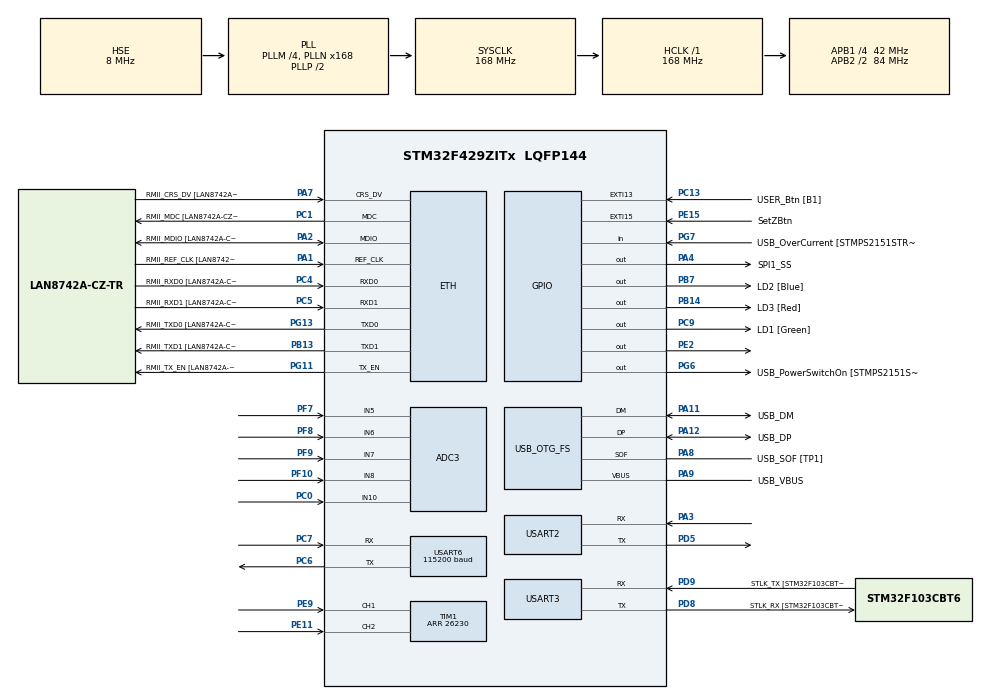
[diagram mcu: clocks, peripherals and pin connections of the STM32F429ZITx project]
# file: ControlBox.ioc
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ADC3.Channel-0\#ChannelRegularConversion=ADC_CHANNEL_5
ADC3.Channel-1\#ChannelRegularConversion=ADC_CHANNEL_6
ADC3.Channel-2\#ChannelRegularConversion=ADC_CHANNEL_7
ADC3.Channel-3\#ChannelRegularConversion=ADC_CHANNEL_8
ADC3.Channel-4\#ChannelRegularConversion=ADC_CHANNEL_10
ADC3.ContinuousConvMode=ENABLE
ADC3.DMAContinuousRequests=ENABLE
ADC3.NbrOfConversion=5
ADC3.NbrOfConversionFlag=1
ADC3.Rank-0\#ChannelRegularConversion=1
ADC3.Rank-1\#ChannelRegularConversion=2
ADC3.Rank-2\#ChannelRegularConversion=3
ADC3.Rank-3\#ChannelRegularConversion=4
ADC3.Rank-4\#ChannelRegularConversion=5
ADC3.SamplingTime-0\#ChannelRegularConversion=ADC_SAMPLETIME_144CYCLES
ADC3.SamplingTime-1\#ChannelRegularConversion=ADC_SAMPLETIME_144CYCLES
ADC3.SamplingTime-2\#ChannelRegularConversion=ADC_SAMPLETIME_144CYCLES
ADC3.SamplingTime-3\#ChannelRegularConversion=ADC_SAMPLETIME_144CYCLES
ADC3.SamplingTime-4\#ChannelRegularConversion=ADC_SAMPLETIME_144CYCLES
Dma.ADC3.0.Direction=DMA_PERIPH_TO_MEMORY
Dma.ADC3.0.FIFOMode=DMA_FIFOMODE_DISABLE
Dma.ADC3.0.Instance=DMA2_Stream0
Dma.ADC3.0.MemDataAlignment=DMA_MDATAALIGN_WORD
Dma.ADC3.0.MemInc=DMA_MINC_ENABLE
Dma.ADC3.0.Mode=DMA_CIRCULAR
Dma.ADC3.0.PeriphDataAlignment=DMA_PDATAALIGN_WORD
Dma.ADC3.0.PeriphInc=DMA_PINC_DISABLE
Dma.ADC3.0.Priority=DMA_PRIORITY_LOW
Dma.Request0=ADC3
ETH.MediaInterface=ETH_MEDIA_INTERFACE_RMII
ETH.PHY_Name=LAN8742A_PHY_ADDRESS
ETH.PHY_Value=0
ETH.PhyAddress=0
Mcu.Family=STM32F4
Mcu.Name=STM32F429ZITx
Mcu.Package=LQFP144
NVIC.DMA2_Stream0_IRQn=true\:0\:0\:false\:false\:true\:false\:true
NVIC.EXTI15_10_IRQn=true\:0\:0\:false\:false\:true\:true\:true
NVIC.PriorityGroup=NVIC_PRIORITYGROUP_4
NVIC.TIM6_DAC_IRQn=true\:0\:0\:false\:false\:true\:true\:true
NVIC.USART6_IRQn=true\:0\:0\:false\:false\:true\:true\:true
PA1.GPIO_Label=RMII_REF_CLK [LAN8742A-CZ-TR_REFCLK0]
PA1.Mode=RMII
PA1.Signal=ETH_REF_CLK
PA10.GPIO_Label=USB_ID
PA10.Signal=USB_OTG_FS_ID
PA11.GPIO_Label=USB_DM
PA11.Mode=Device_Only
PA11.Signal=USB_OTG_FS_DM
PA12.GPIO_Label=USB_DP
PA12.Mode=Device_Only
PA12.Signal=USB_OTG_FS_DP
PA13.GPIO_Label=TMS
PA13.Mode=Serial_Wire
PA13.Signal=SYS_JTMS-SWDIO
PA14.GPIO_Label=TCK
PA14.Mode=Serial_Wire
PA14.Signal=SYS_JTCK-SWCLK
PA2.GPIO_Label=RMII_MDIO [LAN8742A-CZ-TR_MDIO]
PA2.Mode=RMII
PA2.Signal=ETH_MDIO
PA3.Mode=Asynchronous
PA3.Signal=USART2_RX
PA4.GPIO_Label=SPI1_SS
PA4.Signal=GPIO_Output
PA7.GPIO_Label=RMII_CRS_DV [LAN8742A-CZ-TR_CRS_DV]
PA7.Mode=RMII
PA7.Signal=ETH_CRS_DV
PA8.GPIO_Label=USB_SOF [TP1]
PA8.Mode=Activate_SOF_FS
PA8.Signal=USB_OTG_FS_SOF
PA9.GPIO_Label=USB_VBUS
PA9.Mode=Activate_VBUS
PA9.Signal=USB_OTG_FS_VBUS
PB13.GPIO_Label=RMII_TXD1 [LAN8742A-CZ-TR_TXD1]
PB13.Mode=RMII
PB13.Signal=ETH_TXD1
PB14.GPIO_Label=LD3 [Red]
PB14.Signal=GPIO_Output
PB7.GPIO_Label=LD2 [Blue]
PB7.Signal=GPIO_Output
PC0.Signal=ADCx_IN10
PC1.GPIO_Label=RMII_MDC [LAN8742A-CZ-TR_MDC]
PC1.Mode=RMII
PC1.Signal=ETH_MDC
PC13.GPIO_Label=USER_Btn [B1]
PC13.Signal=GPXTI13
PC14/OSC32_IN.Mode=LSE-External-Oscillator
PC14/OSC32_IN.Signal=RCC_OSC32_IN
PC15/OSC32_OUT.Mode=LSE-External-Oscillator
PC15/OSC32_OUT.Signal=RCC_OSC32_OUT
PC4.GPIO_Label=RMII_RXD0 [LAN8742A-CZ-TR_RXD0]
PC4.Mode=RMII
PC4.Signal=ETH_RXD0
PC5.GPIO_Label=RMII_RXD1 [LAN8742A-CZ-TR_RXD1]
PC5.Mode=RMII
PC5.Signal=ETH_RXD1
PC6.Mode=Asynchronous
PC6.Signal=USART6_TX
PC7.Mode=Asynchronous
PC7.Signal=USART6_RX
PC9.GPIO_Label=LD1 [Green]
PC9.Signal=GPIO_Output
PD5.Mode=Asynchronous
PD5.Signal=USART2_TX
PD8.GPIO_Label=STLK_RX [STM32F103CBT6_PA3]
PD8.Mode=Asynchronous
PD8.Signal=USART3_TX
PD9.GPIO_Label=STLK_TX [STM32F103CBT6_PA2]
PD9.Mode=Asynchronous
PD9.Signal=USART3_RX
PE11.Signal=S_TIM1_CH2
PE15.GPIO_Label=SetZBtn
PE15.Signal=GPXTI15
PE2.Signal=GPIO_Output
PE9.Signal=S_TIM1_CH1
PF10.Mode=IN8
PF10.Signal=ADC3_IN8
PF7.Mode=IN5
PF7.Signal=ADC3_IN5
PF8.Mode=IN6
PF8.Signal=ADC3_IN6
PF9.Mode=IN7
PF9.Signal=ADC3_IN7
PG11.GPIO_Label=RMII_TX_EN [LAN8742A-CZ-TR_TXEN]
PG11.Mode=RMII
PG11.Signal=ETH_TX_EN
PG13.GPIO_Label=RMII_TXD0 [LAN8742A-CZ-TR_TXD0]
PG13.Mode=RMII
PG13.Signal=ETH_TXD0
PG6.GPIO_Label=USB_PowerSwitchOn [STMPS2151STR_EN]
PG6.Signal=GPIO_Output
PG7.GPIO_Label=USB_OverCurrent [STMPS2151STR_FAULT]
PG7.Signal=GPIO_Input
PH0/OSC_IN.GPIO_Label=MCO [STM32F103CBT6_PA8]
PH0/OSC_IN.Mode=HSE-External-Clock-Source
PH0/OSC_IN.Signal=RCC_OSC_IN
PH1/OSC_OUT.Mode=HSE-External-Clock-Source
PH1/OSC_OUT.Signal=RCC_OSC_OUT
ProjectManager.HeapSize=0x200
ProjectManager.StackSize=0x400
ProjectManager.TargetToolchain=EWARM V8
RCC.48MHZClocksFreq_Value=48000000
RCC.AHBFreq_Value=168000000
RCC.APB1CLKDivider=RCC_HCLK_DIV4
RCC.APB1Freq_Value=42000000
RCC.APB1TimFreq_Value=84000000
RCC.APB2CLKDivider=RCC_HCLK_DIV2
RCC.APB2Freq_Value=84000000
RCC.APB2TimCLKDivider=2
RCC.APB2TimFreq_Value=168000000
RCC.CortexFreq_Value=168000000
RCC.HCLKFreq_Value=168000000
RCC.HSE_VALUE=8000000
RCC.HSI_VALUE=16000000
RCC.PLLM=4
RCC.PLLMUL=RCC_PLL_MUL9
RCC.PLLN=168
RCC.PLLQ=7
RCC.PRESCALERUSB=RCC_USBCLKSOURCE_PLL_DIV1_5
RCC.SYSCLKFreq_VALUE=168000000
RCC.SYSCLKSource=RCC_SYSCLKSOURCE_PLLCLK
RCC.SYSCLKSourceVirtual=RCC_SYSCLKSOURCE_PLLCLK
RCC.USBFreq_Value=48000000
RCC.VCOOutputFreq_Value=336000000
SH.ADCx_IN10.0=ADC3_IN10,IN10
SH.S_TIM1_CH1.0=TIM1_CH1,Encoder_Interface
SH.S_TIM1_CH2.0=TIM1_CH2,Encoder_Interface
TIM1.Period=26230
TIM6.Period=99
TIM6.Prescaler=8399
USART2.VirtualMode=VM_ASYNC
USART3.VirtualMode=VM_ASYNC
USART6.BaudRate=115200
USART6.VirtualMode=VM_ASYNC
USB_OTG_FS.VirtualMode=Device_Only
VP_TIM6_VS_ClockSourceINT.Mode=Enable_Timer
board=NUCLEO-F429ZI

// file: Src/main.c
/* USER CODE BEGIN Header */
/**
  ******************************************************************************
  * @file           : main.c
  * @brief          : Main program body
  ******************************************************************************
  * @attention
  *
  * <h2><center>&copy; Copyright (c) 2019 STMicroelectronics.
  * All rights reserved.</center></h2>
  *
  * This software component is licensed by ST under BSD 3-Clause license,
  * the "License"; You may not use this file except in compliance with the
  * License. You may obtain a copy of the License at:
  *                        opensource.org/licenses/BSD-3-Clause
  *
  ******************************************************************************
  */
/* USER CODE END Header */

#include "main.h"

/* USER CODE BEGIN Includes */
#include <math.h>

/* USER CODE END Includes */

/* USER CODE BEGIN PD */
#define DIR_RIGHT_PLUS 0x00
#define DIR_RIGHT_MINUS  0x01

#define DIR_LEFT_MINUS 0x00
#define DIR_LEFT_PLUS  0x01

/* USER CODE END PD */

ADC_HandleTypeDef hadc3;
DMA_HandleTypeDef hdma_adc3;

ETH_HandleTypeDef heth;

TIM_HandleTypeDef htim1;
TIM_HandleTypeDef htim6;

UART_HandleTypeDef huart2;
UART_HandleTypeDef huart3;
UART_HandleTypeDef huart6;

PCD_HandleTypeDef hpcd_USB_OTG_FS;

/* USER CODE BEGIN PV */
unsigned int code_Error = 0;
uint8_t rx_data[4] = {0x00, }; //앱솔루스 통신 배열
uint16_t ABSposition = 0; //초기 각도 확인을 위한 변수
int32_t EncoderCounter = 0; //인클리멘털 엔코더 변수
int32_t pre_EncoderCounter = 0;
int8_t Direction = 0; //인클리멘털 엔코더 방향 변수
double deg = 0.0; //앱솔루트 엔코더 각도 변수
uint16_t dis = 0.0; //인크리 멘털 카운터를 이용한 줄길이 변수
int n_deg = 0.;
unsigned int tenmilli = 0;
unsigned int second = 0;

double pre_dis = 0.0;
double ddis = 0.0;

double x = 0.0;
double y = 0.0;
double Ex = 0.0;
double pre_Ex = 0.0;
double Ey = 0.0;
double pre_Ey = 0.0;
double Vx = 0.0;
double Vy = 0.0;
double left = 0.0;
double right = 0.0;
double Exsum = 0.0;
double Eysum = 0.0;
double L = 0.0;
double R = 0.0;
double x0 = 0.0;
double y0 = 0.0;
int motor_flag = 0;
int init_flag = 0;

//  Motor Controller Protocol Variables
uint16_t id0_rpm = 0x0000;
uint16_t id1_rpm = 0x0000;
uint8_t id0_Ctrl_Vel[10] = {0xFF, 0xFE, 0x00, 0x06, 0x00/*CheckSum*/, 0x03, DIR_RIGHT_PLUS, 0x00, 0x00, 0x01};
uint8_t id1_Ctrl_Vel[10] = {0xFF, 0xFE, 0x01, 0x06, 0x00/*CheckSum*/, 0x03, DIR_LEFT_PLUS, 0x00, 0x00, 0x01};

unsigned int ADC_Buffer[5] = {0,};

/* USER CODE END PV */

void SystemClock_Config(void);
static void MX_GPIO_Init(void);
static void MX_DMA_Init(void);
static void MX_ETH_Init(void);
static void MX_TIM1_Init(void);
static void MX_USART3_UART_Init(void);
static void MX_USB_OTG_FS_PCD_Init(void);
static void MX_TIM6_Init(void);
static void MX_ADC3_Init(void);
static void MX_USART6_UART_Init(void);
static void MX_USART2_UART_Init(void);
/* USER CODE BEGIN PFP */

void cal_CheckSum(unsigned char *array_Data);
double cal_Absolute(double value);                      // 절대값 구하는 함수

/* USER CODE END PFP */

/* USER CODE BEGIN 0 */
void HAL_TIM_PeriodElapsedCallback(TIM_HandleTypeDef *htim)
{
  if(htim == &htim6) //timer6
  {
    //control period time check
    tenmilli++;
    if(tenmilli % 10 == 0)
    {
      second++;
    }

    //incremental encoder
    EncoderCounter = TIM1->CNT;
    if(cal_Absolute(pre_EncoderCounter - EncoderCounter) > 10000)
    {
      EncoderCounter = 0;
    }
    Direction = __HAL_TIM_IS_TIM_COUNTING_DOWN(&htim1);
    dis = EncoderCounter * 0.011;//(7.0/300.0);

    //absolute encoder
    ABSposition = (rx_data[0] - 48) * 1000 + (rx_data[1] - 48) * 100 + (rx_data[2] - 48) * 10 + (rx_data[3] - 48);
    deg = ABSposition * 0.087890;
    n_deg = (int)deg;

    //control part
    ///////////////////////////////////////////////////////////////////////////////
    //ddis = dis - pre_dis;
    if(dis > 50)
    {
      if(init_flag == 0)
      {
        x0 = dis * cos(deg * 0.0174533);
        y0 = dis * sin(deg * 0.0174533);
        init_flag = 1;
      }

      Ex = x0 - dis * cos(deg * 0.0174533);
      Ey = y0 - dis * sin(deg * 0.0174533);

      Vx = -0.4* Ex; //-  0.05 * Exsum;
      Vy = -0.4* Ey; //-  0.05 * Eysum;

      left = (Vx * 0.121212  - Vy * 0.0679059) * 9.549297;
      right = (Vx * 0.121212 + Vy * 0.0679059) * 9.549297;

      L = left;
      R = right;

      //Saturation and Direction
      if(left < 0)
      {
        left = - left;
        id1_Ctrl_Vel[6] = DIR_LEFT_MINUS;
        if(left > 100){ left = 100; }
        else
        {
          Exsum = Exsum + Ex;
          Eysum = Eysum + Ey;
        }
      }
      else
      {
        id1_Ctrl_Vel[6] = DIR_LEFT_PLUS;
        if(left > 100){ left = 100; }
        else
        {
          Exsum = Exsum + Ex;
          Eysum = Eysum + Ey;
        }
      }
      if(right < 0)
      {
        right = - right;
        id0_Ctrl_Vel[6] = DIR_RIGHT_MINUS;
        if(right > 100){ right = 100; }
        else
        {
         Exsum = Exsum + Ex;
          Eysum = Eysum + Ey;
        }
      }
      else
      {
        id0_Ctrl_Vel[6] = DIR_RIGHT_PLUS;
        if(right > 100){ right = 100; }
        else
        {
          Exsum = Exsum + Ex;
          Eysum = Eysum + Ey;
        }
      }
      id0_rpm = (int)right*10 ;
      id1_rpm = (int)left*10;
    }
    else
    {
      id0_rpm = 0;
      id1_rpm = 0;
    }

      //////////////////////////////////////////////////////////////////////////
    //id0_rpm = 200;
    //id1_rpm = 200;
    id0_Ctrl_Vel[7] = id0_rpm >> 8;
    id0_Ctrl_Vel[8] = (unsigned char)id0_rpm;
    id1_Ctrl_Vel[7] = id1_rpm >> 8;
    id1_Ctrl_Vel[8] = (unsigned char)id1_rpm;
    cal_CheckSum(id0_Ctrl_Vel);
    cal_CheckSum(id1_Ctrl_Vel);

    pre_dis = dis;
    motor_flag = 1;

  }
  pre_EncoderCounter = EncoderCounter;

}

/* USER CODE END 0 */

int main(void)
{

  /* MCU Configuration--------------------------------------------------------*/

  /* Reset of all peripherals, Initializes the Flash interface and the Systick. */
  HAL_Init();

  /* Configure the system clock */
  SystemClock_Config();

  /* Initialize all configured peripherals */
  MX_GPIO_Init();
  MX_DMA_Init();
  MX_ETH_Init();
  MX_TIM1_Init();
  MX_USART3_UART_Init();
  MX_USB_OTG_FS_PCD_Init();
  MX_TIM6_Init();
  MX_ADC3_Init();
  MX_USART6_UART_Init();
  MX_USART2_UART_Init();
  /* USER CODE BEGIN 2 */

  //motor init
  HAL_UART_Transmit(&huart6, id0_Ctrl_Vel, 10, 0xFF);
  HAL_UART_Transmit(&huart6, id1_Ctrl_Vel, 10, 0xFF);

  code_Error = 1;

  HAL_TIM_Encoder_Start(&htim1, TIM_CHANNEL_ALL); //incremental encoder start function

  //HAL_ADC_Start_DMA(&hadc3, ADC_Buffer, 5);

  HAL_TIM_Base_Start_IT(&htim6);

  /* USER CODE END 2 */

  /* Infinite loop */
  while (1)
  {

    /* USER CODE BEGIN 3 */
    HAL_UART_Receive(&huart2, rx_data, 4, 10); //Absolute encoder usart
    //motor usart
    if(motor_flag == 1)
    {
        HAL_UART_Transmit(&huart6, id0_Ctrl_Vel, 10, 100);
       HAL_UART_Transmit(&huart6, id1_Ctrl_Vel, 10, 100);
        motor_flag = 0;
    }
  }
  /* USER CODE END 3 */
}

void SystemClock_Config(void)
{
  RCC_OscInitTypeDef RCC_OscInitStruct = {0};
  RCC_ClkInitTypeDef RCC_ClkInitStruct = {0};

  /** Configure the main internal regulator output voltage
  */
  __HAL_RCC_PWR_CLK_ENABLE();
  __HAL_PWR_VOLTAGESCALING_CONFIG(PWR_REGULATOR_VOLTAGE_SCALE1);
  /** Initializes the CPU, AHB and APB busses clocks
  */
  RCC_OscInitStruct.OscillatorType = RCC_OSCILLATORTYPE_HSE;
  RCC_OscInitStruct.HSEState = RCC_HSE_BYPASS;
  RCC_OscInitStruct.PLL.PLLState = RCC_PLL_ON;
  RCC_OscInitStruct.PLL.PLLSource = RCC_PLLSOURCE_HSE;
  RCC_OscInitStruct.PLL.PLLM = 4;
  RCC_OscInitStruct.PLL.PLLN = 168;
  RCC_OscInitStruct.PLL.PLLP = RCC_PLLP_DIV2;
  RCC_OscInitStruct.PLL.PLLQ = 7;
  if (HAL_RCC_OscConfig(&RCC_OscInitStruct) != HAL_OK)
  {
    Error_Handler();
  }
  /** Initializes the CPU, AHB and APB busses clocks
  */
  RCC_ClkInitStruct.ClockType = RCC_CLOCKTYPE_HCLK|RCC_CLOCKTYPE_SYSCLK
                              |RCC_CLOCKTYPE_PCLK1|RCC_CLOCKTYPE_PCLK2;
  RCC_ClkInitStruct.SYSCLKSource = RCC_SYSCLKSOURCE_PLLCLK;
  RCC_ClkInitStruct.AHBCLKDivider = RCC_SYSCLK_DIV1;
  RCC_ClkInitStruct.APB1CLKDivider = RCC_HCLK_DIV4;
  RCC_ClkInitStruct.APB2CLKDivider = RCC_HCLK_DIV2;

  if (HAL_RCC_ClockConfig(&RCC_ClkInitStruct, FLASH_LATENCY_5) != HAL_OK)
  {
    Error_Handler();
  }
}

static void MX_ADC3_Init(void)
{

  ADC_ChannelConfTypeDef sConfig = {0};

  /** Configure the global features of the ADC (Clock, Resolution, Data Alignment and number of conversion)
  */
  hadc3.Instance = ADC3;
  hadc3.Init.ClockPrescaler = ADC_CLOCK_SYNC_PCLK_DIV4;
  hadc3.Init.Resolution = ADC_RESOLUTION_12B;
  hadc3.Init.ScanConvMode = ENABLE;
  hadc3.Init.ContinuousConvMode = ENABLE;
  hadc3.Init.DiscontinuousConvMode = DISABLE;
  hadc3.Init.ExternalTrigConvEdge = ADC_EXTERNALTRIGCONVEDGE_NONE;
  hadc3.Init.ExternalTrigConv = ADC_SOFTWARE_START;
  hadc3.Init.DataAlign = ADC_DATAALIGN_RIGHT;
  hadc3.Init.NbrOfConversion = 5;
  hadc3.Init.DMAContinuousRequests = ENABLE;
  hadc3.Init.EOCSelection = ADC_EOC_SINGLE_CONV;
  if (HAL_ADC_Init(&hadc3) != HAL_OK)
  {
    Error_Handler();
  }
  /** Configure for the selected ADC regular channel its corresponding rank in the sequencer and its sample time.
  */
  sConfig.Channel = ADC_CHANNEL_5;
  sConfig.Rank = 1;
  sConfig.SamplingTime = ADC_SAMPLETIME_144CYCLES;
  if (HAL_ADC_ConfigChannel(&hadc3, &sConfig) != HAL_OK)
  {
    Error_Handler();
  }
  /** Configure for the selected ADC regular channel its corresponding rank in the sequencer and its sample time.
  */
  sConfig.Channel = ADC_CHANNEL_6;
  sConfig.Rank = 2;
  if (HAL_ADC_ConfigChannel(&hadc3, &sConfig) != HAL_OK)
  {
    Error_Handler();
  }
  /** Configure for the selected ADC regular channel its corresponding rank in the sequencer and its sample time.
  */
  sConfig.Channel = ADC_CHANNEL_7;
  sConfig.Rank = 3;
  if (HAL_ADC_ConfigChannel(&hadc3, &sConfig) != HAL_OK)
  {
    Error_Handler();
  }
  /** Configure for the selected ADC regular channel its corresponding rank in the sequencer and its sample time.
  */
  sConfig.Channel = ADC_CHANNEL_8;
  sConfig.Rank = 4;
  if (HAL_ADC_ConfigChannel(&hadc3, &sConfig) != HAL_OK)
  {
    Error_Handler();
  }
  /** Configure for the selected ADC regular channel its corresponding rank in the sequencer and its sample time.
  */
  sConfig.Channel = ADC_CHANNEL_10;
  sConfig.Rank = 5;
  if (HAL_ADC_ConfigChannel(&hadc3, &sConfig) != HAL_OK)
  {
    Error_Handler();
  }

}

static void MX_ETH_Init(void)
{

   uint8_t MACAddr[6] ;

  heth.Instance = ETH;
  heth.Init.AutoNegotiation = ETH_AUTONEGOTIATION_ENABLE;
  heth.Init.PhyAddress = LAN8742A_PHY_ADDRESS;
  MACAddr[0] = 0x00;
  MACAddr[1] = 0x80;
  MACAddr[2] = 0xE1;
  MACAddr[3] = 0x00;
  MACAddr[4] = 0x00;
  MACAddr[5] = 0x00;
  heth.Init.MACAddr = &MACAddr[0];
  heth.Init.RxMode = ETH_RXPOLLING_MODE;
  heth.Init.ChecksumMode = ETH_CHECKSUM_BY_HARDWARE;
  heth.Init.MediaInterface = ETH_MEDIA_INTERFACE_RMII;

  if (HAL_ETH_Init(&heth) != HAL_OK)
  {
    Error_Handler();
  }

}

static void MX_TIM1_Init(void)
{

  TIM_Encoder_InitTypeDef sConfig = {0};
  TIM_MasterConfigTypeDef sMasterConfig = {0};

  htim1.Instance = TIM1;
  htim1.Init.Prescaler = 0;
  htim1.Init.CounterMode = TIM_COUNTERMODE_UP;
  htim1.Init.Period = 26230;
  htim1.Init.ClockDivision = TIM_CLOCKDIVISION_DIV1;
  htim1.Init.RepetitionCounter = 0;
  htim1.Init.AutoReloadPreload = TIM_AUTORELOAD_PRELOAD_DISABLE;
  sConfig.EncoderMode = TIM_ENCODERMODE_TI1;
  sConfig.IC1Polarity = TIM_ICPOLARITY_RISING;
  sConfig.IC1Selection = TIM_ICSELECTION_DIRECTTI;
  sConfig.IC1Prescaler = TIM_ICPSC_DIV1;
  sConfig.IC1Filter = 0;
  sConfig.IC2Polarity = TIM_ICPOLARITY_RISING;
  sConfig.IC2Selection = TIM_ICSELECTION_DIRECTTI;
  sConfig.IC2Prescaler = TIM_ICPSC_DIV1;
  sConfig.IC2Filter = 0;
  if (HAL_TIM_Encoder_Init(&htim1, &sConfig) != HAL_OK)
  {
    Error_Handler();
  }
  sMasterConfig.MasterOutputTrigger = TIM_TRGO_RESET;
  sMasterConfig.MasterSlaveMode = TIM_MASTERSLAVEMODE_DISABLE;
  if (HAL_TIMEx_MasterConfigSynchronization(&htim1, &sMasterConfig) != HAL_OK)
  {
    Error_Handler();
  }

}

static void MX_TIM6_Init(void)
{

  TIM_MasterConfigTypeDef sMasterConfig = {0};

  htim6.Instance = TIM6;
  htim6.Init.Prescaler = 8399;
  htim6.Init.CounterMode = TIM_COUNTERMODE_UP;
  htim6.Init.Period = 99;
  htim6.Init.AutoReloadPreload = TIM_AUTORELOAD_PRELOAD_DISABLE;
  if (HAL_TIM_Base_Init(&htim6) != HAL_OK)
  {
    Error_Handler();
  }
  sMasterConfig.MasterOutputTrigger = TIM_TRGO_RESET;
  sMasterConfig.MasterSlaveMode = TIM_MASTERSLAVEMODE_DISABLE;
  if (HAL_TIMEx_MasterConfigSynchronization(&htim6, &sMasterConfig) != HAL_OK)
  {
    Error_Handler();
  }

}

static void MX_USART2_UART_Init(void)
{

  huart2.Instance = USART2;
  huart2.Init.BaudRate = 115200;
  huart2.Init.WordLength = UART_WORDLENGTH_8B;
  huart2.Init.StopBits = UART_STOPBITS_1;
  huart2.Init.Parity = UART_PARITY_NONE;
  huart2.Init.Mode = UART_MODE_TX_RX;
  huart2.Init.HwFlowCtl = UART_HWCONTROL_NONE;
  huart2.Init.OverSampling = UART_OVERSAMPLING_16;
  if (HAL_UART_Init(&huart2) != HAL_OK)
  {
    Error_Handler();
  }

}

static void MX_USART3_UART_Init(void)
{

  huart3.Instance = USART3;
  huart3.Init.BaudRate = 115200;
  huart3.Init.WordLength = UART_WORDLENGTH_8B;
  huart3.Init.StopBits = UART_STOPBITS_1;
  huart3.Init.Parity = UART_PARITY_NONE;
  huart3.Init.Mode = UART_MODE_TX_RX;
  huart3.Init.HwFlowCtl = UART_HWCONTROL_NONE;
  huart3.Init.OverSampling = UART_OVERSAMPLING_16;
  if (HAL_UART_Init(&huart3) != HAL_OK)
  {
    Error_Handler();
  }

}

static void MX_USART6_UART_Init(void)
{

  huart6.Instance = USART6;
  huart6.Init.BaudRate = 115200;
  huart6.Init.WordLength = UART_WORDLENGTH_8B;
  huart6.Init.StopBits = UART_STOPBITS_1;
  huart6.Init.Parity = UART_PARITY_NONE;
  huart6.Init.Mode = UART_MODE_TX_RX;
  huart6.Init.HwFlowCtl = UART_HWCONTROL_NONE;
  huart6.Init.OverSampling = UART_OVERSAMPLING_16;
  if (HAL_UART_Init(&huart6) != HAL_OK)
  {
    Error_Handler();
  }

}

static void MX_USB_OTG_FS_PCD_Init(void)
{

  hpcd_USB_OTG_FS.Instance = USB_OTG_FS;
  hpcd_USB_OTG_FS.Init.dev_endpoints = 4;
  hpcd_USB_OTG_FS.Init.speed = PCD_SPEED_FULL;
  hpcd_USB_OTG_FS.Init.dma_enable = DISABLE;
  hpcd_USB_OTG_FS.Init.phy_itface = PCD_PHY_EMBEDDED;
  hpcd_USB_OTG_FS.Init.Sof_enable = ENABLE;
  hpcd_USB_OTG_FS.Init.low_power_enable = DISABLE;
  hpcd_USB_OTG_FS.Init.lpm_enable = DISABLE;
  hpcd_USB_OTG_FS.Init.vbus_sensing_enable = ENABLE;
  hpcd_USB_OTG_FS.Init.use_dedicated_ep1 = DISABLE;
  if (HAL_PCD_Init(&hpcd_USB_OTG_FS) != HAL_OK)
  {
    Error_Handler();
  }

}

static void MX_DMA_Init(void)
{
  /* DMA controller clock enable */
  __HAL_RCC_DMA2_CLK_ENABLE();

  /* DMA interrupt init */
  /* DMA2_Stream0_IRQn interrupt configuration */
  HAL_NVIC_SetPriority(DMA2_Stream0_IRQn, 0, 0);
  HAL_NVIC_EnableIRQ(DMA2_Stream0_IRQn);

}

static void MX_GPIO_Init(void)
{
  GPIO_InitTypeDef GPIO_InitStruct = {0};

  /* GPIO Ports Clock Enable */
  __HAL_RCC_GPIOE_CLK_ENABLE();
  __HAL_RCC_GPIOC_CLK_ENABLE();
  __HAL_RCC_GPIOF_CLK_ENABLE();
  __HAL_RCC_GPIOH_CLK_ENABLE();
  __HAL_RCC_GPIOA_CLK_ENABLE();
  __HAL_RCC_GPIOB_CLK_ENABLE();
  __HAL_RCC_GPIOD_CLK_ENABLE();
  __HAL_RCC_GPIOG_CLK_ENABLE();

  /*Configure GPIO pin Output Level */
  HAL_GPIO_WritePin(GPIOE, GPIO_PIN_2, GPIO_PIN_RESET);

  /*Configure GPIO pin Output Level */
  HAL_GPIO_WritePin(SPI1_SS_GPIO_Port, SPI1_SS_Pin, GPIO_PIN_RESET);

  /*Configure GPIO pin Output Level */
  HAL_GPIO_WritePin(GPIOB, LD3_Pin|LD2_Pin, GPIO_PIN_RESET);

  /*Configure GPIO pin Output Level */
  HAL_GPIO_WritePin(USB_PowerSwitchOn_GPIO_Port, USB_PowerSwitchOn_Pin, GPIO_PIN_RESET);

  /*Configure GPIO pin Output Level */
  HAL_GPIO_WritePin(LD1_GPIO_Port, LD1_Pin, GPIO_PIN_RESET);

  /*Configure GPIO pin : PE2 */
  GPIO_InitStruct.Pin = GPIO_PIN_2;
  GPIO_InitStruct.Mode = GPIO_MODE_OUTPUT_PP;
  GPIO_InitStruct.Pull = GPIO_NOPULL;
  GPIO_InitStruct.Speed = GPIO_SPEED_FREQ_LOW;
  HAL_GPIO_Init(GPIOE, &GPIO_InitStruct);

  /*Configure GPIO pin : USER_Btn_Pin */
  GPIO_InitStruct.Pin = USER_Btn_Pin;
  GPIO_InitStruct.Mode = GPIO_MODE_IT_RISING;
  GPIO_InitStruct.Pull = GPIO_NOPULL;
  HAL_GPIO_Init(USER_Btn_GPIO_Port, &GPIO_InitStruct);

  /*Configure GPIO pin : SPI1_SS_Pin */
  GPIO_InitStruct.Pin = SPI1_SS_Pin;
  GPIO_InitStruct.Mode = GPIO_MODE_OUTPUT_PP;
  GPIO_InitStruct.Pull = GPIO_NOPULL;
  GPIO_InitStruct.Speed = GPIO_SPEED_FREQ_LOW;
  HAL_GPIO_Init(SPI1_SS_GPIO_Port, &GPIO_InitStruct);

  /*Configure GPIO pin : SetZBtn_Pin */
  GPIO_InitStruct.Pin = SetZBtn_Pin;
  GPIO_InitStruct.Mode = GPIO_MODE_IT_RISING;
  GPIO_InitStruct.Pull = GPIO_NOPULL;
  HAL_GPIO_Init(SetZBtn_GPIO_Port, &GPIO_InitStruct);

  /*Configure GPIO pins : LD3_Pin LD2_Pin */
  GPIO_InitStruct.Pin = LD3_Pin|LD2_Pin;
  GPIO_InitStruct.Mode = GPIO_MODE_OUTPUT_PP;
  GPIO_InitStruct.Pull = GPIO_NOPULL;
  GPIO_InitStruct.Speed = GPIO_SPEED_FREQ_LOW;
  HAL_GPIO_Init(GPIOB, &GPIO_InitStruct);

  /*Configure GPIO pin : USB_PowerSwitchOn_Pin */
  GPIO_InitStruct.Pin = USB_PowerSwitchOn_Pin;
  GPIO_InitStruct.Mode = GPIO_MODE_OUTPUT_PP;
  GPIO_InitStruct.Pull = GPIO_NOPULL;
  GPIO_InitStruct.Speed = GPIO_SPEED_FREQ_LOW;
  HAL_GPIO_Init(USB_PowerSwitchOn_GPIO_Port, &GPIO_InitStruct);

  /*Configure GPIO pin : USB_OverCurrent_Pin */
  GPIO_InitStruct.Pin = USB_OverCurrent_Pin;
  GPIO_InitStruct.Mode = GPIO_MODE_INPUT;
  GPIO_InitStruct.Pull = GPIO_NOPULL;
  HAL_GPIO_Init(USB_OverCurrent_GPIO_Port, &GPIO_InitStruct);

  /*Configure GPIO pin : LD1_Pin */
  GPIO_InitStruct.Pin = LD1_Pin;
  GPIO_InitStruct.Mode = GPIO_MODE_OUTPUT_PP;
  GPIO_InitStruct.Pull = GPIO_NOPULL;
  GPIO_InitStruct.Speed = GPIO_SPEED_FREQ_LOW;
  HAL_GPIO_Init(LD1_GPIO_Port, &GPIO_InitStruct);

  /* EXTI interrupt init*/
  HAL_NVIC_SetPriority(EXTI15_10_IRQn, 0, 0);
  HAL_NVIC_EnableIRQ(EXTI15_10_IRQn);

}

/* USER CODE BEGIN 4 */

void cal_CheckSum(unsigned char *array_Data)
{
    unsigned char checksum = 0x00;
    for(int i = 2; i < 10; i++)
    {
        if(i != 4)
        {
            checksum += array_Data[i];
        }
    }
    checksum = ~checksum;
    array_Data[4] = checksum;
}

double cal_Absolute(double value)
{
  if(value < 0)
  {
    value *= -1;
  }
  return value;
}

/* USER CODE END 4 */

void Error_Handler(void)
{
}

/************************ (C) COPYRIGHT STMicroelectronics *****END OF FILE****/
